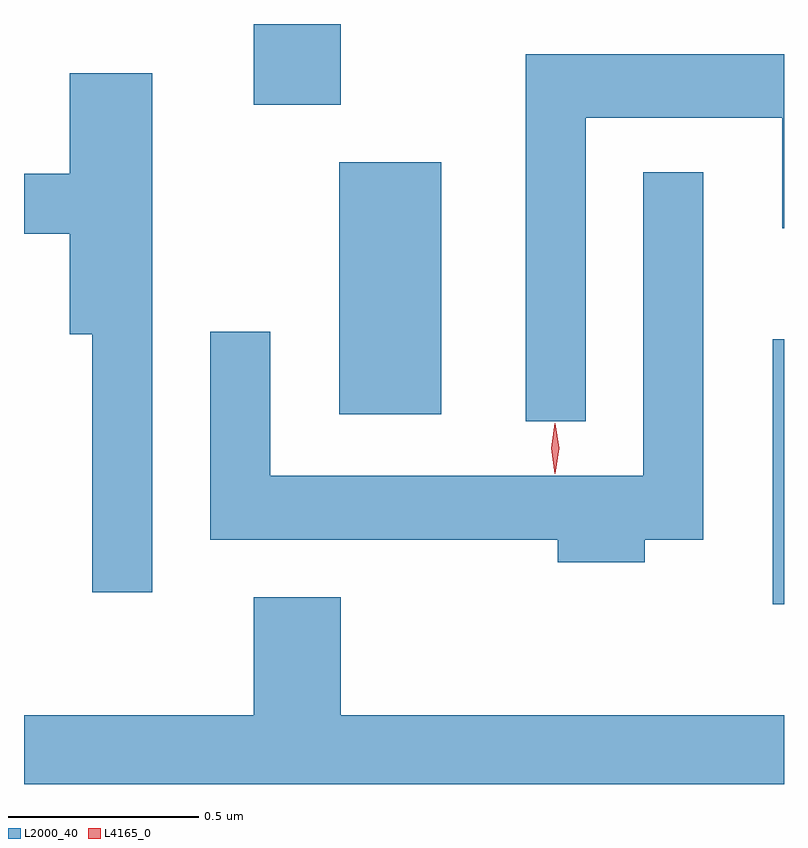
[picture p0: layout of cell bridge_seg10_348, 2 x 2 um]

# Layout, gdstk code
import gdstk
lib = gdstk.Library(unit=1e-6, precision=1e-09)
def R(c, l, rs):  # rectangles x0, y0, x1, y1
    for r in rs: c.add(gdstk.rectangle(r[:2], r[2:], *l))
def P(c, l, *ps):  # polygons
    for p in ps: c.add(gdstk.Polygon(p, *l))
L2000_40 = (2000, 40)
L4165_0 = (4165, 0)

bridge_seg10_348 = lib.new_cell('bridge_seg10_348')
R(bridge_seg10_348, L2000_40, [(1445.546,2156.656,1445.576,2157.354), (1444.406,2157.156,1444.674,2157.819), (1444.181,2157.971,1444.409,2158.183)])
P(bridge_seg10_348, L2000_40, [(1445.054,2157.936),(1445.571,2157.936),(1445.571,2157.646),(1445.576,2157.646),(1445.576,2158.104),(1444.896,2158.104),(1444.896,2157.138),(1445.054,2157.138)],
  [(1443.914,2158.054),(1443.696,2158.054),(1443.696,2157.789),(1443.576,2157.789),(1443.576,2157.631),(1443.696,2157.631),(1443.696,2157.366),(1443.756,2157.366),(1443.756,2156.688),(1443.914,2156.688)],
  [(1445.209,2156.826),(1445.364,2156.826),(1445.364,2157.793),(1445.206,2157.793),(1445.206,2156.994),(1444.224,2156.994),(1444.224,2157.373),(1444.066,2157.373),(1444.066,2156.826),(1444.981,2156.826),(1444.981,2156.766),(1445.209,2156.766)],
  [(1445.576,2156.364),(1444.409,2156.364),(1444.409,2156.674),(1444.181,2156.674),(1444.181,2156.364),(1443.576,2156.364),(1443.576,2156.183),(1445.576,2156.183)])
P(bridge_seg10_348, L4165_0, [(1444.974,2156.999),(1444.973,2157),(1444.964,2157.066),(1444.973,2157.132),(1444.974,2157.133),(1444.974,2157.132),(1444.984,2157.066),(1444.974,2157)])

lib.write_gds('bridge_seg10_348.gds')
